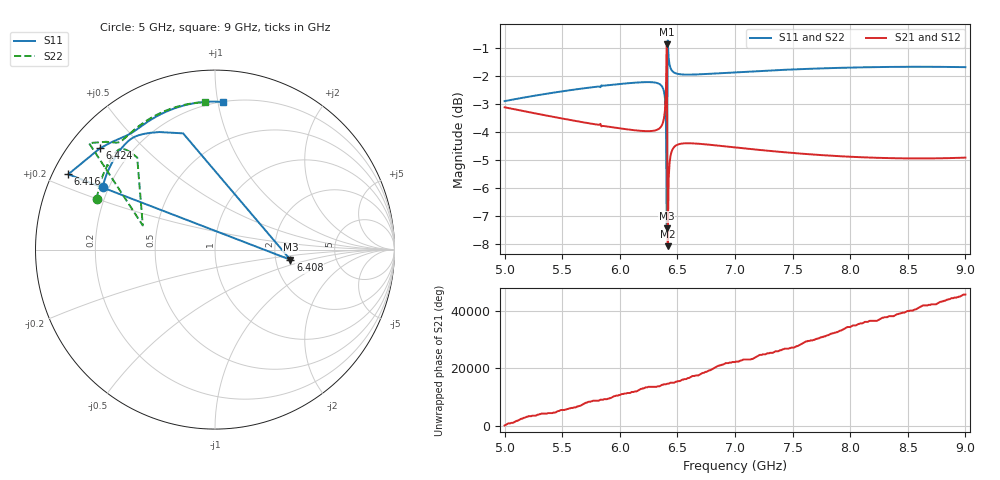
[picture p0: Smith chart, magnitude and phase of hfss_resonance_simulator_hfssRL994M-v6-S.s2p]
! Touchstone file exported from HFSS 2024.1.0
!  File:  C:/Users/phobo/Documents/Ansoft/hfss_resonance_simulator.aedt
!  Generated:  08:55:41 AM May 25, 2025
!  Design:  hfssRL994M
!  Project:  hfss_resonance_simulator
!  Setup:  Setup1
!  Solution:  Sweep
# GHz S MA R 50.000000
! Terminal data exported
! Port[1] = 1
! Port[2] = 2
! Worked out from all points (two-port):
!   501 points, 5 GHz to 9 GHz, reference 50 ohm
!   highest |S21| = -0.86 dB at 6.408 GHz (marker M1); lowest = -8.1 dB at 6.416 GHz (marker M2)
!   |S21| within 3 dB of the highest: start of sweep to 5.979 GHz; 6.347 GHz to 6.411 GHz (64.06 MHz wide, 1 % of centre)
!   lowest |S11| = -7.4 dB at 6.408 GHz (marker M3), VSWR 2.47, Z = 121 - j16.8 ohm
!   |S11| at or under -10 dB: nowhere
!   |S22| runs from -7.4 to -0.7 dB; largest |S21 - S12| = 3.1e-14
!   S11 on the Smith chart (normalised r, x): 5 GHz: 0.18, +0.25; 6.408 GHz: 2.42, -0.34; 6.416 GHz: 0.04, +0.24; 6.424 GHz: 0.09, +0.38; 9 GHz: 0.20, +1.04
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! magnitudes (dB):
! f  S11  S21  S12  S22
! 5 GHz  -2.9  -3.1  -3.1  -2.9
! 5.672 GHz  -2.5  -3.7  -3.7  -2.5
! 6.168 GHz  -2.2  -4.0  -4.0  -2.2
! 6.336 GHz  -2.3  -3.9  -3.9  -2.3
! 6.36 GHz  -2.3  -3.8  -3.8  -2.3
! 6.376 GHz  -2.5  -3.6  -3.6  -2.5
! 6.384 GHz  -2.6  -3.5  -3.5  -2.6
! 6.392 GHz  -2.8  -3.2  -3.2  -2.8
! 6.4 GHz  -3.5  -2.6  -2.6  -3.5
! 6.408 GHz  -7.4  -0.9  -0.9  -7.4
! 6.416 GHz  -0.7  -8.1  -8.1  -0.7
! 6.424 GHz  -1.4  -5.7  -5.7  -1.4
! 6.432 GHz  -1.6  -5.1  -5.1  -1.6
! 6.44 GHz  -1.7  -4.9  -4.9  -1.7
! 6.448 GHz  -1.8  -4.7  -4.7  -1.8
! 6.464 GHz  -1.9  -4.6  -4.6  -1.9
! 6.496 GHz  -1.9  -4.5  -4.5  -1.9
! 6.624 GHz  -2.0  -4.4  -4.4  -2.0
! 7 GHz  -1.9  -4.6  -4.6  -1.9
! 7.672 GHz  -1.7  -4.8  -4.8  -1.7
! 8.336 GHz  -1.7  -4.9  -4.9  -1.7
! 9 GHz  -1.7  -4.9  -4.9  -1.7
